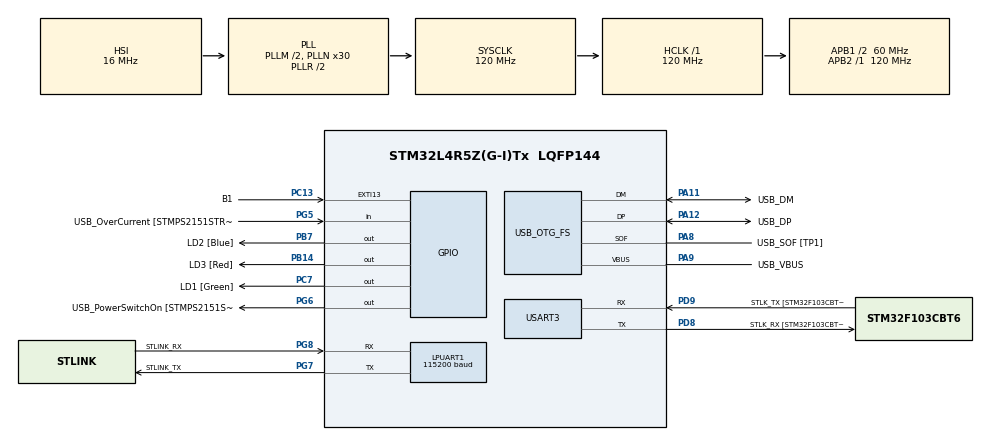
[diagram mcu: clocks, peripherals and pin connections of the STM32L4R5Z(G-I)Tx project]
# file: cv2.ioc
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Dma.LPUART1_RX.0.Direction=DMA_PERIPH_TO_MEMORY
Dma.LPUART1_RX.0.EventEnable=DISABLE
Dma.LPUART1_RX.0.Instance=DMA1_Channel1
Dma.LPUART1_RX.0.MemDataAlignment=DMA_MDATAALIGN_BYTE
Dma.LPUART1_RX.0.MemInc=DMA_MINC_ENABLE
Dma.LPUART1_RX.0.Mode=DMA_NORMAL
Dma.LPUART1_RX.0.PeriphDataAlignment=DMA_PDATAALIGN_BYTE
Dma.LPUART1_RX.0.PeriphInc=DMA_PINC_DISABLE
Dma.LPUART1_RX.0.Polarity=HAL_DMAMUX_REQUEST_GEN_RISING
Dma.LPUART1_RX.0.Priority=DMA_PRIORITY_LOW
Dma.LPUART1_RX.0.RequestNumber=1
Dma.LPUART1_RX.0.SignalID=NONE
Dma.LPUART1_RX.0.SyncEnable=DISABLE
Dma.LPUART1_RX.0.SyncPolarity=HAL_DMAMUX_SYNC_NO_EVENT
Dma.LPUART1_RX.0.SyncRequestNumber=1
Dma.LPUART1_RX.0.SyncSignalID=NONE
Dma.LPUART1_TX.1.Direction=DMA_MEMORY_TO_PERIPH
Dma.LPUART1_TX.1.EventEnable=DISABLE
Dma.LPUART1_TX.1.Instance=DMA1_Channel2
Dma.LPUART1_TX.1.MemDataAlignment=DMA_MDATAALIGN_BYTE
Dma.LPUART1_TX.1.MemInc=DMA_MINC_ENABLE
Dma.LPUART1_TX.1.Mode=DMA_NORMAL
Dma.LPUART1_TX.1.PeriphDataAlignment=DMA_PDATAALIGN_BYTE
Dma.LPUART1_TX.1.PeriphInc=DMA_PINC_DISABLE
Dma.LPUART1_TX.1.Polarity=HAL_DMAMUX_REQUEST_GEN_RISING
Dma.LPUART1_TX.1.Priority=DMA_PRIORITY_LOW
Dma.LPUART1_TX.1.RequestNumber=1
Dma.LPUART1_TX.1.SignalID=NONE
Dma.LPUART1_TX.1.SyncEnable=DISABLE
Dma.LPUART1_TX.1.SyncPolarity=HAL_DMAMUX_SYNC_NO_EVENT
Dma.LPUART1_TX.1.SyncRequestNumber=1
Dma.LPUART1_TX.1.SyncSignalID=NONE
Dma.Request0=LPUART1_RX
Dma.Request1=LPUART1_TX
LPUART1.BaudRate=115200
LPUART1.WordLength=UART_WORDLENGTH_8B
Mcu.Family=STM32L4
Mcu.Name=STM32L4R5Z(G-I)Tx
Mcu.Package=LQFP144
NVIC.DMA1_Channel1_IRQn=true\:0\:0\:false\:false\:true\:false\:true\:true
NVIC.DMA1_Channel2_IRQn=true\:0\:0\:false\:false\:true\:false\:true\:true
NVIC.LPUART1_IRQn=true\:0\:0\:false\:false\:true\:true\:true\:true
NVIC.PriorityGroup=NVIC_PRIORITYGROUP_4
PA10.GPIO_Label=USB_ID
PA10.Signal=USB_OTG_FS_ID
PA11.GPIO_Label=USB_DM
PA11.Mode=Device_Only
PA11.Signal=USB_OTG_FS_DM
PA12.GPIO_Label=USB_DP
PA12.Mode=Device_Only
PA12.Signal=USB_OTG_FS_DP
PA13\ (JTMS/SWDIO).GPIO_Label=TMS
PA13\ (JTMS/SWDIO).Mode=Trace_Asynchronous_SW
PA13\ (JTMS/SWDIO).Signal=SYS_JTMS-SWDIO
PA14\ (JTCK/SWCLK).GPIO_Label=TCK
PA14\ (JTCK/SWCLK).Mode=Trace_Asynchronous_SW
PA14\ (JTCK/SWCLK).Signal=SYS_JTCK-SWCLK
PA8.GPIO_Label=USB_SOF [TP1]
PA8.Mode=Activate_SOF_FS
PA8.Signal=USB_OTG_FS_SOF
PA9.GPIO_Label=USB_VBUS
PA9.Mode=Activate_VBUS
PA9.Signal=USB_OTG_FS_VBUS
PB14.GPIO_Label=LD3 [Red]
PB14.Signal=GPIO_Output
PB3\ (JTDO/TRACESWO).GPIO_Label=SWO
PB3\ (JTDO/TRACESWO).Mode=Trace_Asynchronous_SW
PB3\ (JTDO/TRACESWO).Signal=SYS_JTDO-SWO
PB7.GPIO_Label=LD2 [Blue]
PB7.Signal=GPIO_Output
PC13.GPIO_Label=B1
PC13.Signal=GPXTI13
PC14-OSC32_IN\ (PC14).Mode=LSE-External-Oscillator
PC14-OSC32_IN\ (PC14).Signal=RCC_OSC32_IN
PC15-OSC32_OUT\ (PC15).Mode=LSE-External-Oscillator
PC15-OSC32_OUT\ (PC15).Signal=RCC_OSC32_OUT
PC7.GPIO_Label=LD1 [Green]
PC7.Signal=GPIO_Output
PD8.GPIO_Label=STLK_RX [STM32F103CBT6_PA3]
PD8.Mode=Asynchronous
PD8.Signal=USART3_TX
PD9.GPIO_Label=STLK_TX [STM32F103CBT6_PA2]
PD9.Mode=Asynchronous
PD9.Signal=USART3_RX
PG5.GPIO_Label=USB_OverCurrent [STMPS2151STR_FAULT]
PG5.Signal=GPIO_Input
PG6.GPIO_Label=USB_PowerSwitchOn [STMPS2151STR_EN]
PG6.Signal=GPIO_Output
PG7.GPIO_Label=STLINK_TX
PG7.Mode=Asynchronous
PG7.Signal=LPUART1_TX
PG8.GPIO_Label=STLINK_RX
PG8.Mode=Asynchronous
PG8.Signal=LPUART1_RX
PH0-OSC_IN\ (PH0).Signal=RCC_OSC_IN
PH1-OSC_OUT\ (PH1).Signal=RCC_OSC_OUT
ProjectManager.HeapSize=0x200
ProjectManager.StackSize=0x400
ProjectManager.TargetToolchain=STM32CubeIDE
RCC.48MHZClocksFreq_Value=24000000
RCC.ADCFreq_Value=96000000
RCC.AHBFreq_Value=120000000
RCC.APB1CLKDivider=RCC_HCLK_DIV2
RCC.APB1Freq_Value=60000000
RCC.APB1TimFreq_Value=120000000
RCC.APB2Freq_Value=120000000
RCC.APB2TimFreq_Value=120000000
RCC.CK48CLockSelection=RCC_USBCLKSOURCE_HSI48
RCC.CortexFreq_Value=120000000
RCC.HCLKFreq_Value=120000000
RCC.HSE_VALUE=8000000
RCC.HSI48_VALUE=48000000
RCC.HSI_VALUE=16000000
RCC.MSI_VALUE=4000000
RCC.PLLM1=2
RCC.PLLMUL=RCC_PLL_MUL9
RCC.PLLN=30
RCC.PLLSAI1N=12
RCC.PLLSourceVirtual=RCC_PLLSOURCE_HSI
RCC.PRESCALERUSB=RCC_USBCLKSOURCE_PLL_DIV1_5
RCC.SYSCLKFreq_VALUE=120000000
RCC.SYSCLKSource=RCC_SYSCLKSOURCE_PLLCLK
RCC.SYSCLKSourceVirtual=RCC_SYSCLKSOURCE_PLLCLK
RCC.USBFreq_Value=48000000
RCC.VCOOutputFreq_Value=240000000
USART3.VirtualMode-Asynchronous=VM_ASYNC
USB_OTG_FS.VirtualMode=Device_Only
board=NUCLEO-L4R5ZI

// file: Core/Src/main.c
/* USER CODE BEGIN Header */
/**
  ******************************************************************************
  * @file           : main.c
  * @brief          : Main program body
  ******************************************************************************
  * @attention
  *
  * Copyright (c) 2025 STMicroelectronics.
  * All rights reserved.
  *
  * This software is licensed under terms that can be found in the LICENSE file
  * in the root directory of this software component.
  * If no LICENSE file comes with this software, it is provided AS-IS.
  *
  ******************************************************************************
  */
/* USER CODE END Header */
#include "main.h"

/* USER CODE BEGIN Includes */
#include "stdbool.h"
#include "string.h"
#include "stdlib.h"
#include "stdio.h"
/* USER CODE END Includes */

UART_HandleTypeDef hlpuart1;
UART_HandleTypeDef huart3;
DMA_HandleTypeDef hdma_lpuart1_rx;
DMA_HandleTypeDef hdma_lpuart1_tx;

PCD_HandleTypeDef hpcd_USB_OTG_FS;

/* USER CODE BEGIN PV */
uint32_t ButtonPressTime;
char rxbuffer[50];
char str[20];
uint8_t state = 0;
uint32_t tickAll=0;
uint32_t rxpos = 0;
char buffer[20];
/* USER CODE END PV */

void SystemClock_Config(void);
static void MX_GPIO_Init(void);
static void MX_DMA_Init(void);
static void MX_LPUART1_UART_Init(void);
static void MX_USART3_UART_Init(void);
static void MX_USB_OTG_FS_PCD_Init(void);

/* USER CODE BEGIN 0 */
int tx_in_process;
uint32_t period = 0;
void HAL_UART_TxCpltCallback(UART_HandleTypeDef *huart){
	tx_in_process = 0;
	HAL_GPIO_WritePin(LD3_GPIO_Port, LD3_Pin, GPIO_PIN_RESET);
}

void inputCommand(const char *rxbuffer) {
    if (strcmp(rxbuffer, "RON") == 0) {
        state = 4;
        HAL_GPIO_WritePin(LD3_GPIO_Port, LD3_Pin, GPIO_PIN_SET);
    } else if (strcmp(rxbuffer, "ROFF") == 0) {
    	state = 4;
        HAL_GPIO_WritePin(LD3_GPIO_Port, LD3_Pin, GPIO_PIN_RESET);
    } else if (strcmp(rxbuffer, "BON") == 0) {
    	state = 4;
    	HAL_GPIO_WritePin(LD2_GPIO_Port, LD2_Pin, GPIO_PIN_SET);
    } else if (strcmp(rxbuffer, "BOFF") == 0) {
    	state = 4;
    	HAL_GPIO_WritePin(LD2_GPIO_Port, LD2_Pin, GPIO_PIN_RESET);
    } else if (strcmp(rxbuffer, "GON") == 0) {
    	state = 4;
    	HAL_GPIO_WritePin(LD1_GPIO_Port, LD1_Pin, GPIO_PIN_SET);
    } else if (strcmp(rxbuffer, "GOFF") == 0) {
    	state = 4;
    	HAL_GPIO_WritePin(LD1_GPIO_Port, LD1_Pin, GPIO_PIN_RESET);
    } else if (strcmp(rxbuffer, "RESET") == 0) {
    	HAL_GPIO_WritePin(LD1_GPIO_Port, LD1_Pin, GPIO_PIN_RESET);
    	HAL_GPIO_WritePin(LD2_GPIO_Port, LD2_Pin, GPIO_PIN_RESET);
    	HAL_GPIO_WritePin(LD3_GPIO_Port, LD3_Pin, GPIO_PIN_RESET);
        state=0;
    } else if (strncmp(rxbuffer, "BLIK ", 5) == 0) {
    	HAL_GPIO_WritePin(LD1_GPIO_Port, LD1_Pin, GPIO_PIN_RESET);
    	HAL_GPIO_WritePin(LD2_GPIO_Port, LD2_Pin, GPIO_PIN_RESET);
    	HAL_GPIO_WritePin(LD3_GPIO_Port, LD3_Pin, GPIO_PIN_RESET);
    	period = atoi(rxbuffer + 5);
    	HAL_UART_Transmit(&hlpuart1, (uint8_t *)"\r\nBLIK: ", 8, 100);
    	sprintf(buffer, "%lu", period);
    	HAL_UART_Transmit(&hlpuart1, (uint8_t *)buffer, strlen(buffer), 100);
    	HAL_UART_Transmit(&hlpuart1, (uint8_t *)"\r\n", 2, 100);
    	state=3;
    }
}
/* USER CODE END 0 */

int main(void)
{

  /* MCU Configuration--------------------------------------------------------*/

  /* Reset of all peripherals, Initializes the Flash interface and the Systick. */
  HAL_Init();

  /* USER CODE BEGIN Init */
  HAL_GPIO_WritePin(LD2_GPIO_Port, LD2_Pin, GPIO_PIN_RESET);
  HAL_GPIO_WritePin(LD2_GPIO_Port, LD2_Pin, GPIO_PIN_RESET);
  HAL_GPIO_WritePin(LD1_GPIO_Port, LD1_Pin, GPIO_PIN_RESET);
  /* USER CODE END Init */

  /* Configure the system clock */
  SystemClock_Config();

  /* Initialize all configured peripherals */
  MX_GPIO_Init();
  MX_DMA_Init();
  MX_LPUART1_UART_Init();
  MX_USART3_UART_Init();
  MX_USB_OTG_FS_PCD_Init();
  /* USER CODE BEGIN 2 */
  HAL_StatusTypeDef err = HAL_UART_Transmit(&hlpuart1,(uint8_t *)"Start programu \r\n",16,100);
  if (err != HAL_OK){
	  Error_Handler();
  }
  /* USER CODE END 2 */

  /* Infinite loop */
  /* USER CODE BEGIN WHILE */
  uint32_t tickLedB = HAL_GetTick();
  uint32_t tickLedR = HAL_GetTick();
  bool button_state = false;
  uint32_t tickButton = HAL_GetTick();
  uint32_t tickButtonPress= 0;
  uint32_t tick = 0;
  bool ledRState = false;

  while (1)
  {
    /* USER CODE END WHILE */

    /* USER CODE BEGIN 3 */

	  if (HAL_UART_Receive(&hlpuart1, (uint8_t *)&rxbuffer[rxpos], 1, 0) == HAL_OK) {
		  if (rxbuffer[rxpos] == '\r' || rxbuffer[rxpos] == '\n') {
			  if (rxpos != 0) {
				  HAL_UART_Transmit(&hlpuart1, (uint8_t *)"\r\nPrikaz: ", 10, 100);
				  HAL_UART_Transmit(&hlpuart1, (uint8_t *)rxbuffer, rxpos, 100);
				  HAL_UART_Transmit(&hlpuart1, (uint8_t *)"\r\n", 2, 100);
				  rxbuffer[rxpos] = '\0';
				  inputCommand(rxbuffer);
			  }
			  rxpos = 0;
		  } else if (rxpos + 1 < 50) {
			  HAL_UART_Transmit(&hlpuart1, (uint8_t *)&rxbuffer[rxpos], 1, 10);
			  rxpos++;
		  }
	  }
	  tick = HAL_GetTick();
	  switch (state){
	  case 0:
          if (tick - tickLedB >= 250) {
			  tickLedB += 125;
			  HAL_GPIO_TogglePin(LD2_GPIO_Port, LD2_Pin);
		  }
          if (tick - tickLedR >= 500) {
        	  tickLedR += 250;
        	  HAL_GPIO_TogglePin(LD3_GPIO_Port, LD3_Pin);
          }
          if (button_state){
        	  state = 1; //stav 2
			  HAL_UART_Transmit(&hlpuart1, (uint8_t *)"\r\n Zmena stavu na 1", 19, 100);
			  HAL_GPIO_WritePin(LD3_GPIO_Port, LD3_Pin, GPIO_PIN_RESET);
          }
		  break;
	  case 1:

		  if (tick - tickLedB >= 100)  {
			  tickLedB += 50;
			  HAL_GPIO_TogglePin(LD2_GPIO_Port, LD2_Pin);
		  }
		  if (ButtonPressTime >= 1000){
			  state = 2; //stav 4
			  HAL_UART_Transmit(&hlpuart1, (uint8_t *)"\r\n Zmena stavu na 2", 19, 100);
			  HAL_UART_Transmit(&hlpuart1, (uint8_t *)"\r\n Perioda blikani ", 19, 100);
			  sprintf(buffer, "%lu", ButtonPressTime);
			  HAL_UART_Transmit(&hlpuart1, (uint8_t *)buffer, strlen(buffer), 100);
		  }
		  break;
	  case 2:
		  if (tick%500 < 100){
			  HAL_GPIO_WritePin(LD2_GPIO_Port, LD2_Pin, GPIO_PIN_SET);
		  }else {
			  HAL_GPIO_WritePin(LD2_GPIO_Port, LD2_Pin, GPIO_PIN_RESET);
		  }
		  if (tick-tickLedR >= (ButtonPressTime/2))  {
			  tickLedR += ButtonPressTime/2;
			  HAL_GPIO_TogglePin(LD3_GPIO_Port, LD3_Pin);
		  }
		  break;
	  case 3:
    	  if(tick-tickAll>=period){
    		  tickAll += period;
    		  HAL_GPIO_TogglePin(LD1_GPIO_Port, LD1_Pin);
    		  HAL_GPIO_TogglePin(LD2_GPIO_Port, LD2_Pin);
    		  HAL_GPIO_TogglePin(LD3_GPIO_Port, LD3_Pin);
    	  }
    	  break;
	  }

	  bool button_now = HAL_GPIO_ReadPin(B1_GPIO_Port, B1_Pin);
	  if (button_state){
		  if (button_now)  {
			  tickButton = tick;
		  }  else  { // tlacitko uvolneno
			  if (tick-tickButton > 20) { // platne pusteni tlacitka
				  button_state = false;
				  ButtonPressTime = tick-tickButtonPress;
				  if (state == 2){
					  HAL_UART_Transmit(&hlpuart1, (uint8_t *)"\r\n Perioda blikani ", 19, 100);
					  sprintf(buffer, "%lu", ButtonPressTime);
					  HAL_UART_Transmit(&hlpuart1, (uint8_t *)buffer, strlen(buffer), 100);
				  }
			  }
		  }
	  } else {
		  if (!button_now)  {
			  tickButton = tick;
		  } else { // tlacitko stisknuto
			  if (tick-tickButton > 20) { // platne stisknuti tlacitka
				  button_state = true;
				  tickButtonPress = tick;
				  if (state == 1){
					  if (button_state){
						  HAL_GPIO_TogglePin(LD3_GPIO_Port, LD3_Pin);
						  if (ledRState){
							  HAL_UART_Transmit(&hlpuart1, (uint8_t *)"\r\nZmena Cervene LED na OFF", 26, 100);
							  ledRState = false;
						  }
						  else {
							  HAL_UART_Transmit(&hlpuart1, (uint8_t *)"\r\nZmena Cervene LED na ON", 25, 100);
							  ledRState = true;
						  }
					  }
				  }
			  }
		  }
	  }
  }
  /* USER CODE END 3 */
}
void SystemClock_Config(void)
{
  RCC_OscInitTypeDef RCC_OscInitStruct = {0};
  RCC_ClkInitTypeDef RCC_ClkInitStruct = {0};

  /** Configure the main internal regulator output voltage
  */
  if (HAL_PWREx_ControlVoltageScaling(PWR_REGULATOR_VOLTAGE_SCALE1_BOOST) != HAL_OK)
  {
    Error_Handler();
  }

  /** Initializes the RCC Oscillators according to the specified parameters
  * in the RCC_OscInitTypeDef structure.
  */
  RCC_OscInitStruct.OscillatorType = RCC_OSCILLATORTYPE_HSI48|RCC_OSCILLATORTYPE_HSI;
  RCC_OscInitStruct.HSIState = RCC_HSI_ON;
  RCC_OscInitStruct.HSI48State = RCC_HSI48_ON;
  RCC_OscInitStruct.HSICalibrationValue = RCC_HSICALIBRATION_DEFAULT;
  RCC_OscInitStruct.PLL.PLLState = RCC_PLL_ON;
  RCC_OscInitStruct.PLL.PLLSource = RCC_PLLSOURCE_HSI;
  RCC_OscInitStruct.PLL.PLLM = 2;
  RCC_OscInitStruct.PLL.PLLN = 30;
  RCC_OscInitStruct.PLL.PLLP = RCC_PLLP_DIV2;
  RCC_OscInitStruct.PLL.PLLQ = RCC_PLLQ_DIV2;
  RCC_OscInitStruct.PLL.PLLR = RCC_PLLR_DIV2;
  if (HAL_RCC_OscConfig(&RCC_OscInitStruct) != HAL_OK)
  {
    Error_Handler();
  }

  /** Initializes the CPU, AHB and APB buses clocks
  */
  RCC_ClkInitStruct.ClockType = RCC_CLOCKTYPE_HCLK|RCC_CLOCKTYPE_SYSCLK
                              |RCC_CLOCKTYPE_PCLK1|RCC_CLOCKTYPE_PCLK2;
  RCC_ClkInitStruct.SYSCLKSource = RCC_SYSCLKSOURCE_PLLCLK;
  RCC_ClkInitStruct.AHBCLKDivider = RCC_SYSCLK_DIV1;
  RCC_ClkInitStruct.APB1CLKDivider = RCC_HCLK_DIV2;
  RCC_ClkInitStruct.APB2CLKDivider = RCC_HCLK_DIV1;

  if (HAL_RCC_ClockConfig(&RCC_ClkInitStruct, FLASH_LATENCY_5) != HAL_OK)
  {
    Error_Handler();
  }
}

static void MX_LPUART1_UART_Init(void)
{

  hlpuart1.Instance = LPUART1;
  hlpuart1.Init.BaudRate = 115200;
  hlpuart1.Init.WordLength = UART_WORDLENGTH_8B;
  hlpuart1.Init.StopBits = UART_STOPBITS_1;
  hlpuart1.Init.Parity = UART_PARITY_NONE;
  hlpuart1.Init.Mode = UART_MODE_TX_RX;
  hlpuart1.Init.HwFlowCtl = UART_HWCONTROL_NONE;
  hlpuart1.Init.OneBitSampling = UART_ONE_BIT_SAMPLE_DISABLE;
  hlpuart1.Init.ClockPrescaler = UART_PRESCALER_DIV1;
  hlpuart1.AdvancedInit.AdvFeatureInit = UART_ADVFEATURE_NO_INIT;
  hlpuart1.FifoMode = UART_FIFOMODE_DISABLE;
  if (HAL_UART_Init(&hlpuart1) != HAL_OK)
  {
    Error_Handler();
  }
  if (HAL_UARTEx_SetTxFifoThreshold(&hlpuart1, UART_TXFIFO_THRESHOLD_1_8) != HAL_OK)
  {
    Error_Handler();
  }
  if (HAL_UARTEx_SetRxFifoThreshold(&hlpuart1, UART_RXFIFO_THRESHOLD_1_8) != HAL_OK)
  {
    Error_Handler();
  }
  if (HAL_UARTEx_DisableFifoMode(&hlpuart1) != HAL_OK)
  {
    Error_Handler();
  }

}

static void MX_USART3_UART_Init(void)
{

  huart3.Instance = USART3;
  huart3.Init.BaudRate = 115200;
  huart3.Init.WordLength = UART_WORDLENGTH_8B;
  huart3.Init.StopBits = UART_STOPBITS_1;
  huart3.Init.Parity = UART_PARITY_NONE;
  huart3.Init.Mode = UART_MODE_TX_RX;
  huart3.Init.HwFlowCtl = UART_HWCONTROL_NONE;
  huart3.Init.OverSampling = UART_OVERSAMPLING_16;
  huart3.Init.OneBitSampling = UART_ONE_BIT_SAMPLE_DISABLE;
  huart3.Init.ClockPrescaler = UART_PRESCALER_DIV1;
  huart3.AdvancedInit.AdvFeatureInit = UART_ADVFEATURE_NO_INIT;
  if (HAL_UART_Init(&huart3) != HAL_OK)
  {
    Error_Handler();
  }
  if (HAL_UARTEx_SetTxFifoThreshold(&huart3, UART_TXFIFO_THRESHOLD_1_8) != HAL_OK)
  {
    Error_Handler();
  }
  if (HAL_UARTEx_SetRxFifoThreshold(&huart3, UART_RXFIFO_THRESHOLD_1_8) != HAL_OK)
  {
    Error_Handler();
  }
  if (HAL_UARTEx_DisableFifoMode(&huart3) != HAL_OK)
  {
    Error_Handler();
  }

}

static void MX_USB_OTG_FS_PCD_Init(void)
{

  hpcd_USB_OTG_FS.Instance = USB_OTG_FS;
  hpcd_USB_OTG_FS.Init.dev_endpoints = 6;
  hpcd_USB_OTG_FS.Init.speed = PCD_SPEED_FULL;
  hpcd_USB_OTG_FS.Init.phy_itface = PCD_PHY_EMBEDDED;
  hpcd_USB_OTG_FS.Init.Sof_enable = ENABLE;
  hpcd_USB_OTG_FS.Init.low_power_enable = DISABLE;
  hpcd_USB_OTG_FS.Init.lpm_enable = DISABLE;
  hpcd_USB_OTG_FS.Init.battery_charging_enable = ENABLE;
  hpcd_USB_OTG_FS.Init.use_dedicated_ep1 = DISABLE;
  hpcd_USB_OTG_FS.Init.vbus_sensing_enable = ENABLE;
  if (HAL_PCD_Init(&hpcd_USB_OTG_FS) != HAL_OK)
  {
    Error_Handler();
  }

}

static void MX_DMA_Init(void)
{

  /* DMA controller clock enable */
  __HAL_RCC_DMAMUX1_CLK_ENABLE();
  __HAL_RCC_DMA1_CLK_ENABLE();

  /* DMA interrupt init */
  /* DMA1_Channel1_IRQn interrupt configuration */
  HAL_NVIC_SetPriority(DMA1_Channel1_IRQn, 0, 0);
  HAL_NVIC_EnableIRQ(DMA1_Channel1_IRQn);
  /* DMA1_Channel2_IRQn interrupt configuration */
  HAL_NVIC_SetPriority(DMA1_Channel2_IRQn, 0, 0);
  HAL_NVIC_EnableIRQ(DMA1_Channel2_IRQn);

}

static void MX_GPIO_Init(void)
{
  GPIO_InitTypeDef GPIO_InitStruct = {0};

  /* GPIO Ports Clock Enable */
  __HAL_RCC_GPIOC_CLK_ENABLE();
  __HAL_RCC_GPIOH_CLK_ENABLE();
  __HAL_RCC_GPIOB_CLK_ENABLE();
  __HAL_RCC_GPIOD_CLK_ENABLE();
  __HAL_RCC_GPIOG_CLK_ENABLE();
  HAL_PWREx_EnableVddIO2();
  __HAL_RCC_GPIOA_CLK_ENABLE();

  /*Configure GPIO pin Output Level */
  HAL_GPIO_WritePin(GPIOB, LD3_Pin|LD2_Pin, GPIO_PIN_RESET);

  /*Configure GPIO pin Output Level */
  HAL_GPIO_WritePin(USB_PowerSwitchOn_GPIO_Port, USB_PowerSwitchOn_Pin, GPIO_PIN_RESET);

  /*Configure GPIO pin Output Level */
  HAL_GPIO_WritePin(LD1_GPIO_Port, LD1_Pin, GPIO_PIN_RESET);

  /*Configure GPIO pin : B1_Pin */
  GPIO_InitStruct.Pin = B1_Pin;
  GPIO_InitStruct.Mode = GPIO_MODE_IT_RISING;
  GPIO_InitStruct.Pull = GPIO_NOPULL;
  HAL_GPIO_Init(B1_GPIO_Port, &GPIO_InitStruct);

  /*Configure GPIO pins : LD3_Pin LD2_Pin */
  GPIO_InitStruct.Pin = LD3_Pin|LD2_Pin;
  GPIO_InitStruct.Mode = GPIO_MODE_OUTPUT_PP;
  GPIO_InitStruct.Pull = GPIO_NOPULL;
  GPIO_InitStruct.Speed = GPIO_SPEED_FREQ_LOW;
  HAL_GPIO_Init(GPIOB, &GPIO_InitStruct);

  /*Configure GPIO pin : USB_OverCurrent_Pin */
  GPIO_InitStruct.Pin = USB_OverCurrent_Pin;
  GPIO_InitStruct.Mode = GPIO_MODE_INPUT;
  GPIO_InitStruct.Pull = GPIO_NOPULL;
  HAL_GPIO_Init(USB_OverCurrent_GPIO_Port, &GPIO_InitStruct);

  /*Configure GPIO pin : USB_PowerSwitchOn_Pin */
  GPIO_InitStruct.Pin = USB_PowerSwitchOn_Pin;
  GPIO_InitStruct.Mode = GPIO_MODE_OUTPUT_PP;
  GPIO_InitStruct.Pull = GPIO_NOPULL;
  GPIO_InitStruct.Speed = GPIO_SPEED_FREQ_LOW;
  HAL_GPIO_Init(USB_PowerSwitchOn_GPIO_Port, &GPIO_InitStruct);

  /*Configure GPIO pin : LD1_Pin */
  GPIO_InitStruct.Pin = LD1_Pin;
  GPIO_InitStruct.Mode = GPIO_MODE_OUTPUT_PP;
  GPIO_InitStruct.Pull = GPIO_NOPULL;
  GPIO_InitStruct.Speed = GPIO_SPEED_FREQ_LOW;
  HAL_GPIO_Init(LD1_GPIO_Port, &GPIO_InitStruct);

}

void Error_Handler(void)
{
  __disable_irq();
  while (1)
  {
  }
}
